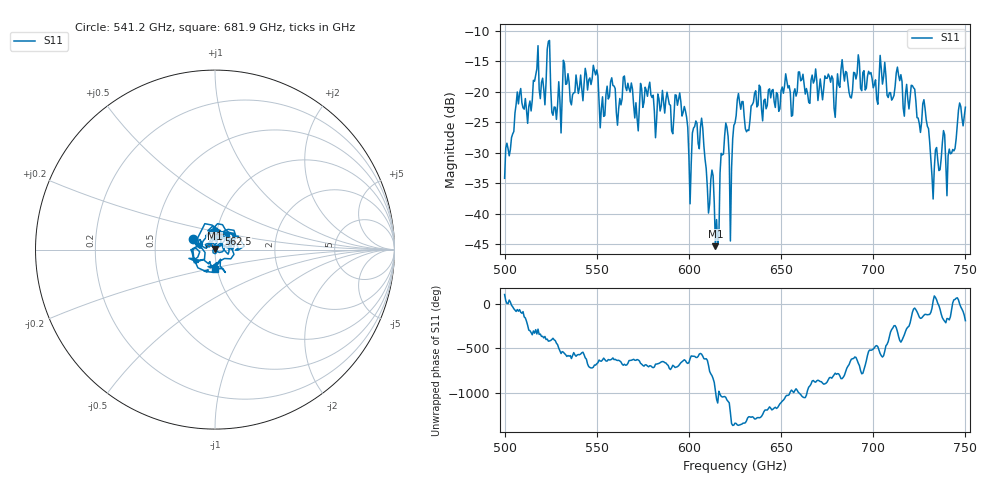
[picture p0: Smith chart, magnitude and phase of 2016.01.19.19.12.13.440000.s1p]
!Created with skrf (http://scikit-rf.org).
# GHz S RI R 50.0
!freq ReS11 ImS11
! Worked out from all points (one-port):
!   401 points, 500 GHz to 750 GHz, reference 50 ohm
!   lowest |S11| = -45.3 dB at 614.4 GHz (marker M1), VSWR 1.01, Z = 49.9 + j0.535 ohm
!   |S11| at or under -10 dB: start of sweep to end of sweep
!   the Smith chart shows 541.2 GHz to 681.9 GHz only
!   S11 on the Smith chart (normalised r, x): 541.2 GHz: 0.78, +0.09; 562.5 GHz: 1.03, +0.18; 681.9 GHz: 0.98, -0.21
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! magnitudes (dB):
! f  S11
! 500 GHz  -34.2
! 507.5 GHz  -22.0
! 513.1 GHz  -22.4
! 516.9 GHz  -17.3
! 520.6 GHz  -17.8
! 523.8 GHz  -11.8
! 526.9 GHz  -22.5
! 531.2 GHz  -20.5
! 541.2 GHz  -17.3
! 549.4 GHz  -17.3
! 553.1 GHz  -20.8
! 562.5 GHz  -21.1
! 593.8 GHz  -22.2
! 600.6 GHz  -38.4
! 607.5 GHz  -25.9
! 614.4 GHz  -45.3
! 615.6 GHz  -44.8
! 618.8 GHz  -30.2
! 623.1 GHz  -32.6
! 625 GHz  -25.1
! 656.2 GHz  -23.9
! 681.9 GHz  -19.3
! 687.5 GHz  -20.9
! 705 GHz  -18.8
! 718.8 GHz  -21.2
! 728.1 GHz  -22.8
! 732.5 GHz  -37.6
! 750 GHz  -22.5
